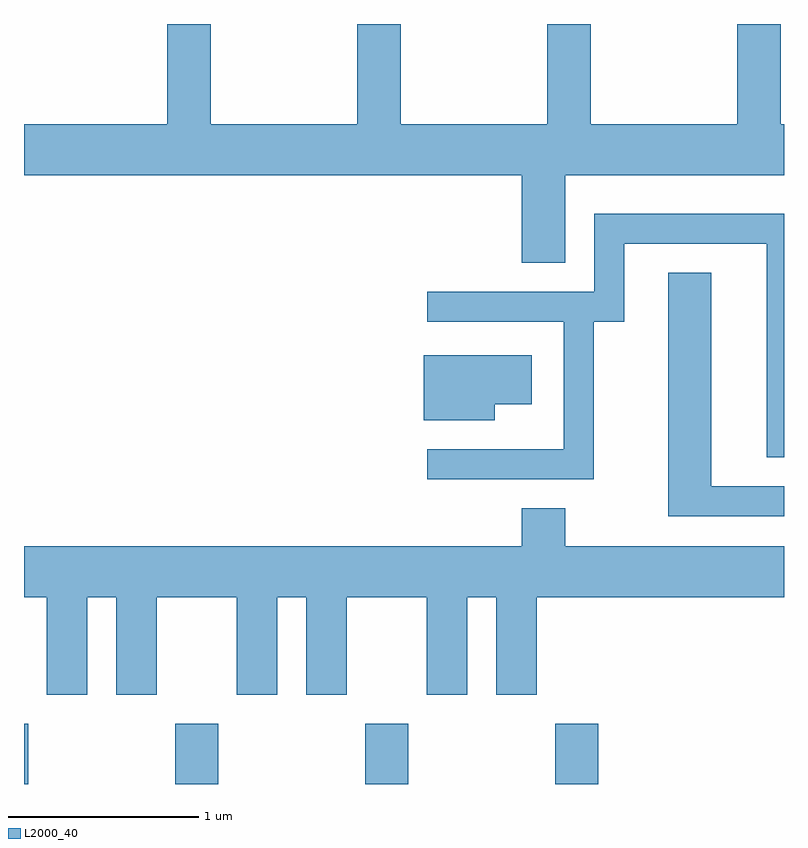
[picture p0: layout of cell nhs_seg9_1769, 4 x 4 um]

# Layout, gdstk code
import gdstk
lib = gdstk.Library(unit=1e-6, precision=1e-09)
def R(c, l, rs):  # rectangles x0, y0, x1, y1
    for r in rs: c.add(gdstk.rectangle(r[:2], r[2:], *l))
def A(c, l, x, y, w, h, nx, ny, dx, dy):  # array of equal rectangles
    R(c, l, [(x+i*dx, y+j*dy, x+i*dx+w, y+j*dy+h) for i in range(nx) for j in range(ny)])
def P(c, l, *ps):  # polygons
    for p in ps: c.add(gdstk.Polygon(p, *l))
L2000_40 = (2000, 40)

nhs_seg9_1769 = lib.new_cell('nhs_seg9_1769')
A(nhs_seg9_1769, L2000_40, 238.406, 1946.432, 0.228, 0.317, 3, 1, 1, 0)
R(nhs_seg9_1769, L2000_40, [(237.611,1946.432,237.634,1946.749)])
P(nhs_seg9_1769, L2000_40, [(240.459,1949.636),(241.611,1949.636),(241.611,1949.904),(241.594,1949.904),(241.594,1950.432),(241.366,1950.432),(241.366,1949.904),(240.594,1949.904),(240.594,1950.432),(240.366,1950.432),(240.366,1949.904),(239.594,1949.904),(239.594,1950.432),(239.366,1950.432),(239.366,1949.904),(238.594,1949.904),(238.594,1950.432),(238.366,1950.432),(238.366,1949.904),(237.611,1949.904),(237.611,1949.636),(240.231,1949.636),(240.231,1949.176),(240.459,1949.176)],
  [(240.609,1948.866),(240.769,1948.866),(240.769,1949.276),(241.521,1949.276),(241.521,1948.151),(241.611,1948.151),(241.611,1949.434),(240.611,1949.434),(240.611,1949.024),(239.733,1949.024),(239.733,1948.866),(240.451,1948.866),(240.451,1948.194),(239.733,1948.194),(239.733,1948.036),(240.609,1948.036)],
  [(241.611,1947.999),(241.229,1947.999),(241.229,1949.124),(241.001,1949.124),(241.001,1947.841),(241.611,1947.841)],
  [(240.089,1948.431),(240.284,1948.431),(240.284,1948.689),(239.716,1948.689),(239.716,1948.346),(240.089,1948.346)],
  [(237.944,1947.416),(238.096,1947.416),(238.096,1946.901),(238.309,1946.901),(238.309,1947.416),(238.731,1947.416),(238.731,1946.901),(238.944,1946.901),(238.944,1947.416),(239.096,1947.416),(239.096,1946.901),(239.309,1946.901),(239.309,1947.416),(239.731,1947.416),(239.731,1946.901),(239.944,1946.901),(239.944,1947.416),(240.096,1947.416),(240.096,1946.901),(240.309,1946.901),(240.309,1947.416),(241.611,1947.416),(241.611,1947.684),(240.459,1947.684),(240.459,1947.884),(240.231,1947.884),(240.231,1947.684),(237.611,1947.684),(237.611,1947.416),(237.731,1947.416),(237.731,1946.901),(237.944,1946.901)])

lib.write_gds('nhs_seg9_1769.gds')
